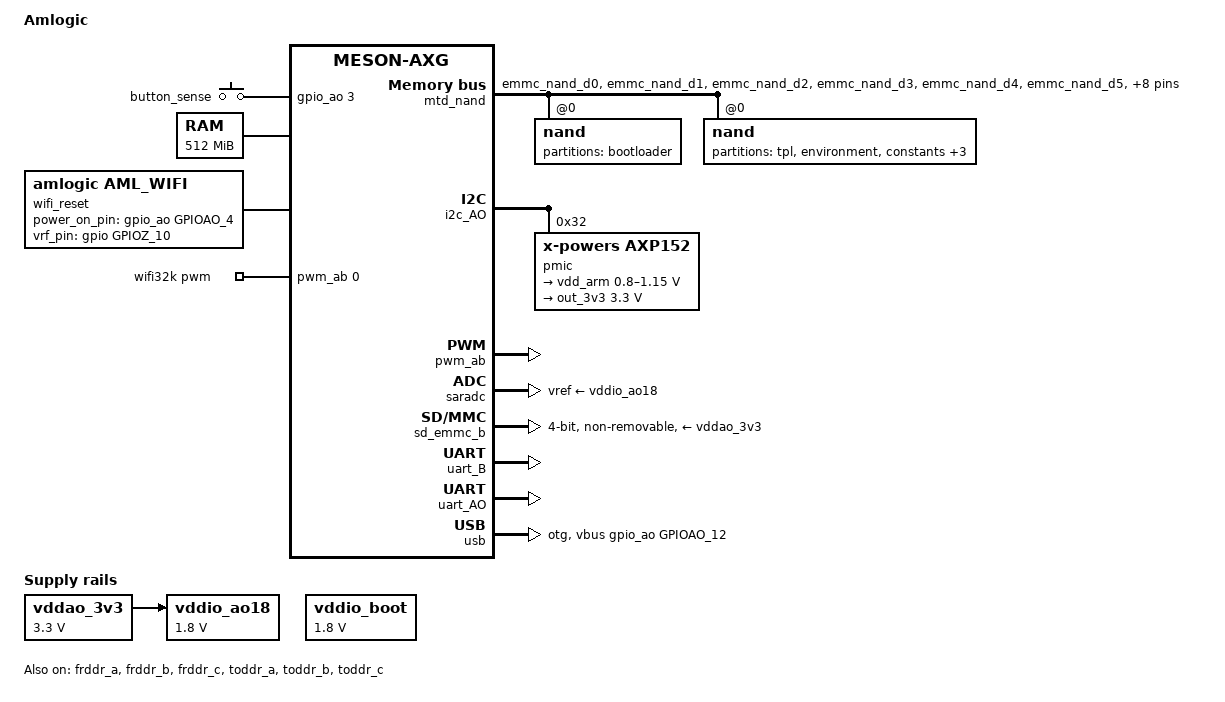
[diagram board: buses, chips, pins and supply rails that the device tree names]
// SPDX-License-Identifier: (GPL-2.0+ OR MIT)
/*
 * Copyright (c) 2017 Amlogic, Inc. All rights reserved.
 */

/dts-v1/;

#include "../amlogic/meson-axg.dtsi"
#include <dt-bindings/input/input.h>
#include <dt-bindings/thermal/thermal.h>

/ {
	compatible = "sue,stream1832", "amlogic,a113d", "amlogic,meson-axg";
	model = "Amlogic";

	aliases {
		serial0 = &uart_AO;
		serial1 = &uart_B;
		i2c0 = &i2c1;
		i2c1 = &i2c_AO;
	};

	cpu_opp_table: cpu_opp_table {
		compatible = "operating-points-v2";
		opp-shared;

		opp96MHz: opp@96000000 {
			opp-hz = /bits/ 64 <96000000>;
			opp-microvolt = <850000>;
			clock-latency-ns = <200>;
		};
		opp264MHz: opp@264000000 {
			opp-hz = /bits/ 64 <264000000>;
			opp-microvolt = <850000>;
			clock-latency-ns = <200>;
		};
		opp504MHz: opp@504000000 {
			opp-hz = /bits/ 64 <504000000>;
			opp-microvolt = <850000>;
			clock-latency-ns = <200>;
		};
		opp672MHz: opp@672000000 {
			opp-hz = /bits/ 64 <672000000>;
			opp-microvolt = <850000>;
			clock-latency-ns = <200>;
		};
		opp768MHz: opp@768000000 {
			opp-hz = /bits/ 64 <768000000>;
			opp-microvolt = <950000>;
			clock-latency-ns = <200>;
		};
		opp1_2GHz: opp@1176000000 {
			opp-hz = /bits/ 64 <1176000000>;
			opp-microvolt = <1050000>;
			clock-latency-ns = <200>;
			opp-workmode = <1>; /* 1: REGULATOR_MODE_FAST => PWM only mode on AXP152 */

			/*
			 * An operating point marked with opp-suspend will be set when the system
			 * goes to suspend *or* reboot *or* shutdown.
			 *
			 * For Stream1832 we want to set the AXP152 back to the 1.2 GHz voltage, otherwise
			 * the U-Boot will not be able to boot after a reboot since the vdd_arm voltage
			 * might be too low from a previous frequency change to a lower operating point.
			 */
			opp-suspend;
		};
		opp1_3GHz: opp@1344000000 {
			opp-hz = /bits/ 64 <1344000000>;
			opp-microvolt = <1075000>;
			clock-latency-ns = <200>;
			opp-workmode = <1>; /* 1: REGULATOR_MODE_FAST => PWM only mode on AXP152 */
		};

		/*
		 * The 1.5 GHz operating point is intentionally disabled since VDDCPU is above
		 * the recommended operating conditions.
		 */
		/*
		opp1_5GHz: opp@1512000000 {
			opp-hz = /bits/ 64 <1416000000>;
			opp-microvolt = <1150000>;
			clock-latency-ns = <200>;
			opp-workmode = <1>;
		};
		*/
	};

	thermal-zones {
		soc_thermal {
			polling-delay = <1000>;
			polling-delay-passive = <100>;

			thermal-sensors = <&scpi_sensors 0>;

			trips {
				passive: trip-point@0 {
					temperature = <90000>;
					hysteresis = <3000>;
					type = "passive";
				};
				critical: trip-point@1 {
					temperature = <110000>;
					hysteresis = <1000>;
					type = "critical";
				};
			};

			cooling-maps {
				cpufreq_cooling_map {
					trip = <&passive>;
					/* Corresponds to 768MHz in OPP table */
					cooling-device = <&cpu0 0 2>, <&cpu1 0 2>,
							<&cpu2 0 2>, <&cpu3 0 2>;
				};
			};
		};
	};

	gpio_buttons: gpio-keys {
		compatible = "gpio-keys";

		button_sense {
			label = "button_sense";
			/* The BUTTON_SENSE is the inverted NPB_IN so it is becomes active high.  */
			gpios = <&gpio_ao 3 GPIO_ACTIVE_HIGH>;
			linux,code = <KEY_POWER>;
			wakeup-source;
		};
	};

	vddao_3v3: regulator-vddao_3v3 {
		compatible = "regulator-fixed";
		regulator-name = "VDDAO_3V3";
		regulator-min-microvolt = <3300000>;
		regulator-max-microvolt = <3300000>;
		regulator-always-on;
	};

	vddio_ao18: regulator-vddio_ao18 {
		compatible = "regulator-fixed";
		regulator-name = "VDDIO_AO18";
		regulator-min-microvolt = <1800000>;
		regulator-max-microvolt = <1800000>;
		vin-supply = <&vddao_3v3>;
		regulator-always-on;
	};

	vddio_boot: regulator-vddio_boot {
		compatible = "regulator-fixed";
		regulator-name = "VDDIO_BOOT";
		regulator-min-microvolt = <1800000>;
		regulator-max-microvolt = <1800000>;
		regulator-always-on;
	};

	chosen {
		stdout-path = "serial0:115200n8";
	};

	memory@00000000 {
		device_type = "memory";
		reg = <0x0 0x000000 0x0 0x20000000>;
		linux,usable-memory = <0x0 0x0000000 0x0 0x20000000>;
	};

	wifi_reset: wifi-reset {
		compatible = "amlogic, aml_wifi";
		status = "okay";

		power_on_pin = <&gpio_ao GPIOAO_4 GPIO_ACTIVE_HIGH>;
		vrf_pin = <&gpio GPIOZ_10 GPIO_OPEN_DRAIN>;
	};

	sdio_pwrseq: sdio-pwrseq {
		compatible = "mmc-pwrseq-simple";
		clocks = <&wifi32k>;
		clock-names = "ext_clock";
	};

	firmware  {
		optee  {
			compatible = "linaro,optee-tz";
			method = "smc";
		};
	};

	secmon {
		compatible = "amlogic, secmon";
		memory-region = <&secmon_reserved>;
		in_base_func = <0x82000020>;
		out_base_func = <0x82000021>;
		reserve_mem_size = <0x00300000>;
	};

	reserved-memory {
		secos_reserved:linux,secos {
			status = "disable";
			compatible = "amlogic, aml_secos_memory";
			reg = <0x0 0x05300000 0x0 0x2000000>;
			no-map;
		};
		/delete-node/ secmon@5000000;
		secmon_reserved:linux,secmon {
			compatible = "shared-dma-pool";
			reusable;
			/*
			* Do not use "reg" property instead of "size, alignment, alloc-ranges" here,
			* because u-boot can't handle the newer format. These values are set in u-boot
			* to match the calculated size of bl31 and bl32.
			*/
			size = <0x0 0x400000>;
			alignment = <0x0 0x400000>;
			alloc-ranges = <0x0 0x05000000 0x0 0x400000>;
		};
	};

	vrtc: rtc@a8 {
		compatible = "amlogic,meson-vrtc";
		reg = <0x0 0x000a8 0x0 0x4>;
	};

	wifi32k: wifi32k {
		compatible = "pwm-clock";
		#clock-cells = <0>;
		clock-frequency = <32768>;
		pwms = <&pwm_ab 0 30518 0>; /* PWM_A at 32.768KHz */
	};

	mtd_nand: nfc@ffe07800 {
		compatible = "amlogic,meson-nfc-single-ecc";
		status = "okay";
		reg = <0x0 0xffe07800 0x0 0x200>;
		interrupts = <GIC_SPI 34 IRQ_TYPE_EDGE_RISING>;

		pinctrl-names = "nand_norb_mod", "nand_cs_only";
		pinctrl-0 = <&all_nand_pins>;
		pinctrl-1 = <&nand_cs_pins>;
		clocks = <&clkc CLKID_SD_EMMC_C>,
				<&clkc CLKID_FCLK_DIV2>;
		clock-names = "gate", "fdiv2pll";

		bl_mode = <1>;
		fip_copies = <4>;
		fip_size = <0x200000>;
		nand_clk_ctrl = <0xffe07000>;
		ship_bad_block = <1>;
		disa_irq_flag = <1>;
		/*partions defined in dts*/
		#address-cells = <1>;
		#size-cells = <0>;
		nand@bootloader {
			reg = <0>;
			nand-ecc-maximize;
			#address-cells = <1>;
			#size-cells = <1>;
			partition@0 {
				#address-cells = <1>;
				#size-cells = <1>;
				label = "bootloader";
				reg = <0x0 0x0>;
			};
		};
		nand@normal {
			reg = <0>;
			nand-ecc-maximize;
			#address-cells = <1>;
			#size-cells = <1>;
			partition@0 {
				label = "tpl";
				reg = <0x1000000 0x800000>;
			};
			partition@1{
				label = "environment";
				reg = <0x0 0x80000>;
			};
			partition@2{
				label = "constants";
				reg = <0x0 0x80000>;
			};
			partition@3{
				label = "swufit";
				reg = <0x0 0x2000000>;
			};
			partition@4{
				label = "fit";
				reg = <0x0 0xC00000>;
			};
			partition@5{
				label = "data";
				reg = <0x0 0xffffffff>;
			};
		};
	};
};

&gpio_ao {
	sysfs-base = <497>;
	interrupt-parent = <&gpio_intc>;
};

&gpio {
	sysfs-base = <411>;
	interrupt-parent = <&gpio_intc>;
};

&cpu0 {
	cpu-supply = <&vdd_arm>;
	operating-points-v2 = <&cpu_opp_table>;
	#cooling-cells = <2>;
};

&cpu1 {
	operating-points-v2 = <&cpu_opp_table>;
	#cooling-cells = <2>;
};

&cpu2 {
	operating-points-v2 = <&cpu_opp_table>;
	#cooling-cells = <2>;
};

&cpu3 {
	operating-points-v2 = <&cpu_opp_table>;
	#cooling-cells = <2>;
};

&i2c_AO {
	status = "okay";
	pinctrl-0 = <&i2c_ao_sck_10_pins>, <&i2c_ao_sda_11_pins>;
	pinctrl-names = "default";

	pmic: axp152@32 {
		compatible = "x-powers,axp152";
		reg = <0x32>;
		no-irq;

		regulators {
			vdd_arm: dcdc2 {
				regulator-name = "vdd_arm";
				regulator-min-microvolt = <800000>;
				regulator-max-microvolt = <1150000>;
				regulator-boot-on;
				regulator-always-on;

				/*
				 * Allow the following workmodes (OR'ed together):
				 *   1: REGULATOR_MODE_FAST	=> PWM only mode
				 *   2: REGULATOR_MODE_NORMAL	=> Auto mode
				 */
				regulator-allowed-modes = <3>;
			};

			out_3v3: ldo0 {
				regulator-name = "3v3_out";
				regulator-min-microvolt = <3300000>;
				regulator-max-microvolt = <3300000>;
				regulator-boot-on;
				regulator-always-on;

				x-powers,disable-before-poweroff;

				regulator-state-mem {
					regulator-off-in-suspend;
				};
			};
		};
	};
};

&pwm_ab {
	status = "okay";
	pinctrl-0 = <&pwm_a_x20_pins>;
	pinctrl-names = "default";
};

&saradc {
	status = "okay";
	vref-supply = <&vddio_ao18>;
};

&frddr_a {
	status = "okay";
};

&frddr_b {
	status = "okay";
};

&frddr_c {
	status = "okay";
};

&toddr_a {
	status = "okay";
};

&toddr_b {
	status = "okay";
};

&toddr_c {
	status = "okay";
};

/* wifi module */
&sd_emmc_b {
	status = "okay";
	#address-cells = <1>;
	#size-cells = <0>;
	pinctrl-names = "default", "clk-gate";
	pinctrl-0 = <&sdio_pins>;
	pinctrl-1 = <&sdio_clk_gate_pins>;

	mmc-pwrseq = <&sdio_pwrseq>;
	vmmc-supply = <&vddao_3v3>;
	vqmmc-supply = <&vddio_boot>;

	bus-width = <4>;
	cap-sd-highspeed;
	cap-mmc-highspeed;
	max-frequency = <200000000>;
	non-removable;
	disable-wp;
	sd-uhs-sdr12;
	sd-uhs-sdr25;
	sd-uhs-sdr50;
	sd-uhs-sdr104;
	fixed-emmc-driver-type = <3>;
};

/* emmc storage */
&sd_emmc_c {
	status = "disabled";
};

&uart_B {
	status = "okay";
	pinctrl-0 = <&uart_b_x_pins>, <&uart_b_x_cts_rts_pins>;
	pinctrl-names = "default";
	uart-has-rtscts;
	fifo-size = <64>;
	clocks = <&clkc CLKID_CLK81>, <&clkc CLKID_UART1>, <&clkc CLKID_CLK81>;
	clock-names = "xtal", "pclk", "baud";
};

&uart_AO {
	status = "okay";
	pinctrl-0 = <&uart_ao_a_pins>;
	pinctrl-names = "default";
};

&usb {
	status = "okay";
	dr_mode = "otg";
	vbus-gpios = <&gpio_ao GPIOAO_12 GPIO_ACTIVE_HIGH>;
	sue,oc-detect;
};

&pinctrl_periphs {
	all_nand_pins: all_nand_pins {
		mux {
			groups =  "emmc_nand_d0",
				"emmc_nand_d1",
				"emmc_nand_d2",
				"emmc_nand_d3",
				"emmc_nand_d4",
				"emmc_nand_d5",
				"emmc_nand_d6",
				"emmc_nand_d7",
				"nand_ce0",
				"nand_ale",
				"nand_cle",
				"nand_wen_clk",
				"nand_ren_wr",
				"nand_rb0";
			function = "nand";
			input-enable;
		};
	};
	nand_cs_pins:nand_cs {
		mux {
			groups = "nand_ce0";
			function = "nand";
		};
	};
};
